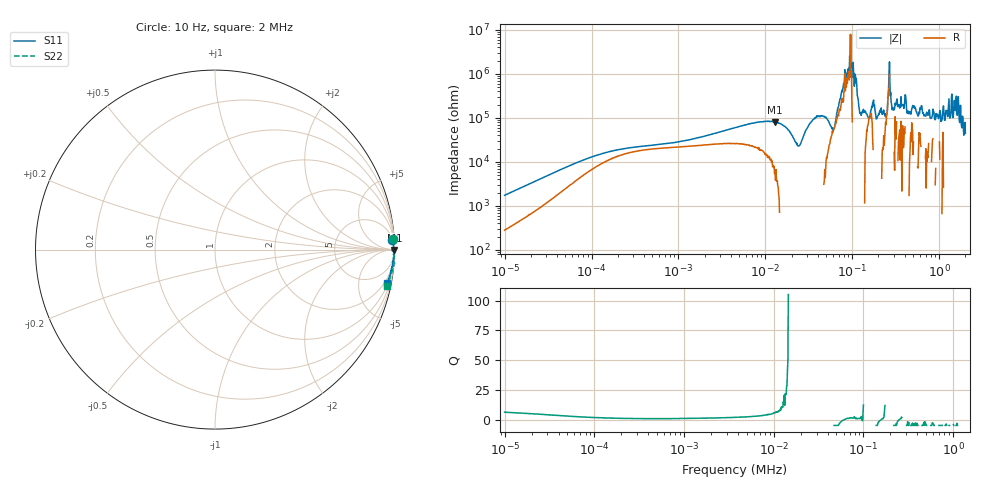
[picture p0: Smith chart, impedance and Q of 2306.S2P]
!Agilent Technologies,E5061B,MY49204007,A.02.12
!Date: Wed Jul 23 11:47:20 2025
!Data & Calibration Information:
!Freq	S11:SOLT2(ON)	S21:SOLT2(ON)	S12:SOLT2(ON)	S22:SOLT2(ON)
# Hz S dB R 50
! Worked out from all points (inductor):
!   1040 points, 10 Hz to 2 MHz, reference 50 ohm
!   read as one part in series: L = 26.6 H near 10.69 Hz
!   highest Q = 14.9 at 12.76 kHz (marker M1), where L = 1.01 H
!   self-resonance near 24.04 kHz
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10  -0.10 3.2  -24.91 -77.4  -24.91 -77.3  -0.08 3.4
77.209  -0.04 0.5  -40.60 -63.4  -40.60 -63.3  -0.02 0.7
588.818  -0.03 0.1  -47.89 -35.1  -47.90 -34.9  -0.01 0.3
4498.482  -0.01 0.0  -55.59 -64.5  -55.62 -64.0  0.01 0.2
12759.6  -0.01 -0.2  -58.14 -86.2  -58.06 -85.4  0.01 0.1
24038.2  -0.12 -0.2  -47.30 -173.6  -47.22 -173.6  0.00 0.1
34305.13  -0.01 -0.0  -58.53 106.4  -58.63 105.6  0.01 -0.0
46458.21  -0.01 -0.1  -60.73 90.0  -60.73 89.1  0.01 -0.1
60560.3  -0.01 -0.3  -54.62 13.3  -54.76 14.5  -0.03 -0.2
79186.18  -0.01 -0.4  -75.66 -67.0  -74.96 -47.6  0.01 -0.2
93250.26  -0.01 -0.5  -87.96 97.7  -87.52 -79.4  0.01 -0.4
106678.2  -0.01 -0.6  -79.95 -89.7  -81.54 -113.7  0.01 -0.5
124829.8  -0.00 -0.7  -62.41 143.6  -62.07 137.3  -0.02 -0.5
149553.9  -0.02 -0.9  -60.88 53.4  -60.24 57.7  0.01 -0.6
173546.8  -0.02 -0.8  -67.15 -86.0  -66.01 -81.3  0.00 -0.9
238488.8  -0.01 -1.3  -60.77 62.0  -61.26 65.8  -0.00 -1.2
261946.5  -0.02 -1.5  -74.83 -42.4  -73.29 -12.6  -0.00 -1.2
294710.7  -0.03 -1.4  -64.39 91.1  -63.83 94.0  0.00 -1.5
701429.4  -0.04 -3.6  -60.82 75.7  -60.84 80.4  -0.01 -3.9
1104505  -0.08 -5.9  -63.89 66.2  -63.35 61.2  -0.04 -6.5
1574823  -0.15 -8.6  -70.07 -170.8  -68.71 173.1  -0.10 -9.2
2000000  -0.19 -11.0  -53.30 -123.8  -53.20 -122.9  -0.20 -11.9
